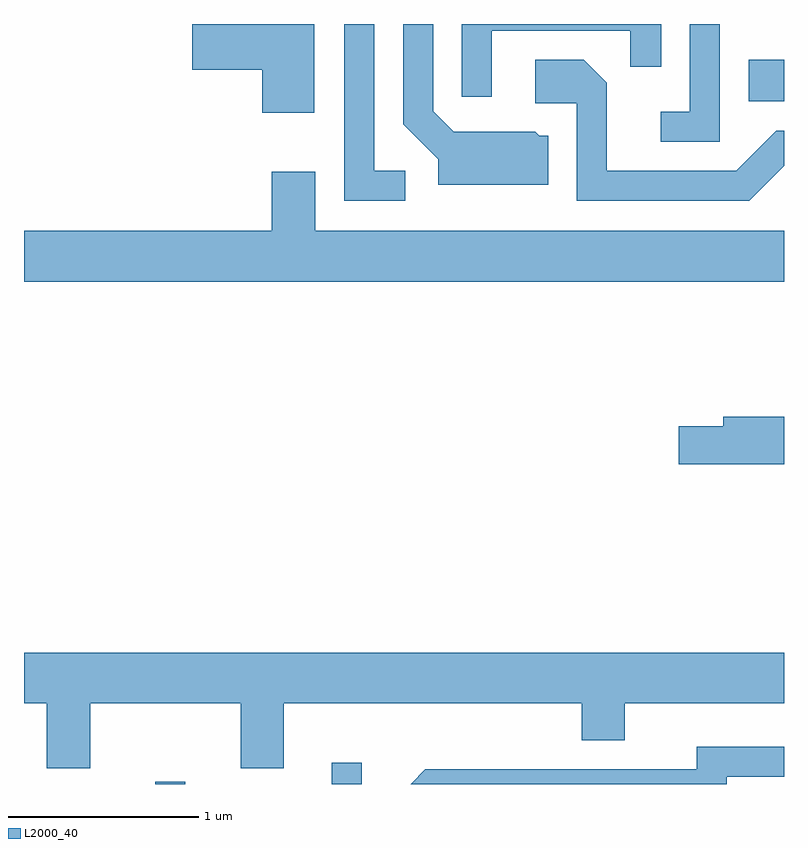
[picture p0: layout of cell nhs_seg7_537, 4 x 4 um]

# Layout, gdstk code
import gdstk
lib = gdstk.Library(unit=1e-6, precision=1e-09)
def R(c, l, rs):  # rectangles x0, y0, x1, y1
    for r in rs: c.add(gdstk.rectangle(r[:2], r[2:], *l))
def P(c, l, *ps):  # polygons
    for p in ps: c.add(gdstk.Polygon(p, *l))
L2000_40 = (2000, 40)

nhs_seg7_537 = lib.new_cell('nhs_seg7_537')
R(nhs_seg7_537, L2000_40, [(200.301,1798.252,200.459,1798.263), (201.231,1798.252,201.389,1798.363), (203.426,1801.846,203.611,1802.064)])
P(nhs_seg7_537, L2000_40, [(201.618,1801.479),(201.454,1801.479),(201.454,1802.252),(201.296,1802.252),(201.296,1801.321),(201.618,1801.321)],
  [(201.139,1802.252),(200.496,1802.252),(200.496,1802.011),(200.866,1802.011),(200.866,1801.786),(201.139,1801.786)],
  [(202.074,1802.216),(202.801,1802.216),(202.801,1802.028),(202.964,1802.028),(202.964,1802.252),(201.916,1802.252),(201.916,1801.868),(202.074,1801.868)],
  [(202.369,1801.664),(202.322,1801.664),(202.302,1801.684),(201.872,1801.684),(201.764,1801.792),(201.764,1802.252),(201.606,1802.252),(201.606,1801.724),(201.791,1801.539),(201.791,1801.406),(202.369,1801.406)],
  [(203.274,1802.252),(203.116,1802.252),(203.116,1801.789),(202.963,1801.789),(202.963,1801.631),(203.274,1801.631)],
  [(203.611,1801.505),(203.611,1801.689),(203.569,1801.689),(203.359,1801.479),(202.679,1801.479),(202.679,1801.942),(202.557,1802.064),(202.301,1802.064),(202.301,1801.836),(202.521,1801.836),(202.521,1801.321),(203.427,1801.321)],
  [(203.611,1801.164),(201.144,1801.164),(201.144,1801.474),(200.916,1801.474),(200.916,1801.164),(199.611,1801.164),(199.611,1800.896),(203.611,1800.896)],
  [(203.611,1800.184),(203.291,1800.184),(203.291,1800.134),(203.056,1800.134),(203.056,1799.936),(203.611,1799.936)],
  [(199.959,1798.676),(200.751,1798.676),(200.751,1798.336),(200.979,1798.336),(200.979,1798.676),(202.546,1798.676),(202.546,1798.481),(202.774,1798.481),(202.774,1798.676),(203.611,1798.676),(203.611,1798.944),(199.611,1798.944),(199.611,1798.676),(199.731,1798.676),(199.731,1798.336),(199.959,1798.336)],
  [(203.309,1798.291),(203.611,1798.291),(203.611,1798.449),(203.151,1798.449),(203.151,1798.329),(201.724,1798.329),(201.647,1798.252),(203.309,1798.252)])

lib.write_gds('nhs_seg7_537.gds')
